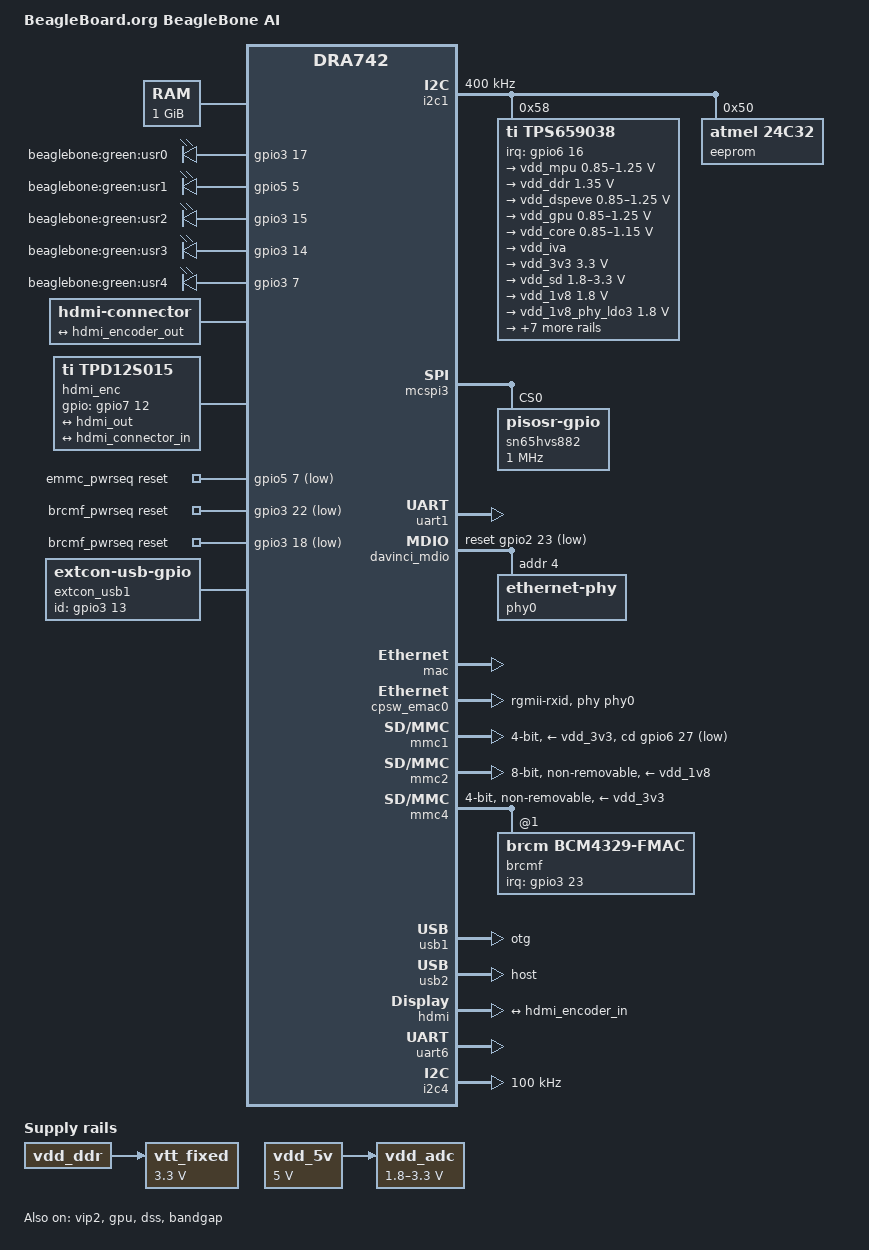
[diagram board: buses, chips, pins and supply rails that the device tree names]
// SPDX-License-Identifier: GPL-2.0
/*
 * Copyright (C) 2014-2020 Texas Instruments Incorporated - http://www.ti.com/
 */

/dts-v1/;

#include "dra74x.dtsi"
#include "dra74x-mmc-iodelay.dtsi"
#include <dt-bindings/gpio/gpio.h>
#include <dt-bindings/interrupt-controller/irq.h>
#include <dt-bindings/pinctrl/dra.h>

/ {
	model = "BeagleBoard.org BeagleBone AI";
	compatible = "beagle,am5729-beagleboneai", "ti,am5728",
		     "ti,dra742", "ti,dra74", "ti,dra7";

	aliases {
		rtc0 = &tps659038_rtc;
		rtc1 = &rtc;
		display0 = &hdmi_conn;
	};

	chosen {
		stdout-path = &uart1;
		base_dtb = "am5729-beagleboneai.dts";
		base_dtb_timestamp = __TIMESTAMP__;
	};

	memory@0 {
		device_type = "memory";
		reg = <0x0 0x80000000 0x0 0x40000000>;
	};

	vdd_adc: gpioregulator-vdd_adc {
		compatible = "regulator-gpio";
		regulator-name = "vdd_adc";
		vin-supply = <&vdd_5v>;
		regulator-min-microvolt = <1800000>;
		regulator-max-microvolt = <3300000>;
		regulator-always-on;
		regulator-boot-on;
		gpios = <&gpio3 27 GPIO_ACTIVE_HIGH>;
		states = <1800000 0
			3300000 1>;
	};

	vdd_5v: fixedregulator-vdd_5v {
		compatible = "regulator-fixed";
		regulator-name = "vdd_5v";
		regulator-min-microvolt = <5000000>;
		regulator-max-microvolt = <5000000>;
		regulator-always-on;
		regulator-boot-on;
	};

	vtt_fixed: fixedregulator-vtt {
		/* TPS51200 */
		compatible = "regulator-fixed";
		regulator-name = "vtt_fixed";
		vin-supply = <&vdd_ddr>;
		regulator-min-microvolt = <3300000>;
		regulator-max-microvolt = <3300000>;
		regulator-always-on;
		regulator-boot-on;
	};

	leds {
		compatible = "gpio-leds";
		pinctrl-names = "default";
		pinctrl-0 = <&led_pins_default>;

		led0 {
			label = "beaglebone:green:usr0";
			gpios = <&gpio3 17 GPIO_ACTIVE_HIGH>;
			linux,default-trigger = "heartbeat";
			default-state = "off";
		};

		led1 {
			label = "beaglebone:green:usr1";
			gpios = <&gpio5 5 GPIO_ACTIVE_HIGH>;
			linux,default-trigger = "mmc0";
			default-state = "off";
		};

		led2 {
			label = "beaglebone:green:usr2";
			gpios = <&gpio3 15 GPIO_ACTIVE_HIGH>;
			linux,default-trigger = "cpu";
			default-state = "off";
		};

		led3 {
			label = "beaglebone:green:usr3";
			gpios = <&gpio3 14 GPIO_ACTIVE_HIGH>;
			linux,default-trigger = "mmc1";
			default-state = "off";
		};

		led4 {
			label = "beaglebone:green:usr4";
			gpios = <&gpio3 7 GPIO_ACTIVE_HIGH>;
			linux,default-trigger = "netdev";
			default-state = "off";
		};
	};

	hdmi_conn: connector@0 {
		compatible = "hdmi-connector";
		label = "hdmi";
		type = "a";

		port {
			hdmi_connector_in: endpoint {
				remote-endpoint = <&hdmi_encoder_out>;
			};
		};
	};

	hdmi_enc: encoder@0 {
		/* "ti,tpd12s016" software compatible with "ti,tpd12s015"
		 *  no need for individual driver
		 */
		compatible = "ti,tpd12s015";
		gpios = <0>,
			<0>,
			<&gpio7 12 GPIO_ACTIVE_HIGH>;

		ports {
			#address-cells = <0x1>;
			#size-cells = <0x0>;

			port@0 {
				reg = <0x0>;

				hdmi_encoder_in: endpoint@0 {
					remote-endpoint = <&hdmi_out>;
				};
			};

			port@1 {
				reg = <0x1>;

				hdmi_encoder_out: endpoint@0 {
					remote-endpoint = <&hdmi_connector_in>;
				};
			};
		};
	};

	emmc_pwrseq: emmc_pwrseq {
		compatible = "mmc-pwrseq-emmc";
		reset-gpios = <&gpio5 7 GPIO_ACTIVE_LOW>;
		pinctrl-names = "default";
		pinctrl-0 = <&emmc_pwrseq_pins_default>;
	};

	brcmf_pwrseq: brcmf_pwrseq {
		compatible = "mmc-pwrseq-simple";
		pinctrl-names = "default";
		pinctrl-0 = <&brcmf_pwrseq_pins_default>;
		reset-gpios = <&gpio3 22 GPIO_ACTIVE_LOW>,	/* BT-REG-ON */
				<&gpio3 18 GPIO_ACTIVE_LOW>;	/* WL-REG-ON */
	};

	unused_pins: unused_pins {
		compatible = "gpio-leds";
		pinctrl-names = "default";
		pinctrl-0 = <&unused_pins_default>;
	};

	cape_pins: cape_pins {
		compatible = "gpio-leds";
		pinctrl-names = "default";
		pinctrl-0 = <&cape_pins_default>;
	};

	extcon_usb1: extcon_usb1 {
		compatible = "linux,extcon-usb-gpio";
		ti,enable-id-detection;
		id-gpio = <&gpio3 13 GPIO_ACTIVE_HIGH>;
		pinctrl-names = "default";
		pinctrl-0 = <&extcon_usb1_pins_default>;
	};
};

&dra7_pmx_core {
	extcon_usb1_pins_default: extcon_usb1_pins_default {
		pinctrl-single,pins = <
			DRA7XX_CORE_IOPAD(0x3518, PIN_INPUT | MUX_MODE14) /* AG2: vin1a_d9.gpio3_13  - USR0 */
		>;
	};

	led_pins_default: led_pins_default {
		pinctrl-single,pins = <
			DRA7XX_CORE_IOPAD(0x3528, PIN_OUTPUT | MUX_MODE14) /* AF6: vin1a_d13.gpio3_17  - USR0 */
			DRA7XX_CORE_IOPAD(0x36c0, PIN_OUTPUT | MUX_MODE14) /* J11: mcasp1_axr3.gpio5_5 - USR1 */
			DRA7XX_CORE_IOPAD(0x3520, PIN_OUTPUT | MUX_MODE14) /* AG5: vin1a_d12.gpio3_15  - USR2 */
			DRA7XX_CORE_IOPAD(0x351c, PIN_OUTPUT | MUX_MODE14) /* AG3: vin1a_d10.gpio3_14  - USR3 */
			DRA7XX_CORE_IOPAD(0x3500, PIN_OUTPUT | MUX_MODE14) /* AH6: vin1a_d3.gpio3_7    - USR4 */
		>;
	};

	microsd_extra_pins_default: microsd_extra_pins_default {
		pinctrl-single,pins = <
			DRA7XX_CORE_IOPAD(0x376c, PIN_INPUT_PULLUP | MUX_MODE14) /* W7: mmc1_sdcd.gpio6_27 - MMC1_SDCD */
		>;
	};

	ethphy_extra_pins_default: ethphy_extra_pins_default {
		pinctrl-single,pins = <
			DRA7XX_CORE_IOPAD(0x34c4, PIN_OUTPUT_PULLUP | MUX_MODE14) /* N1: gpmc_advn_ale.gpio2_23 - RGMII_RST */
			DRA7XX_CORE_IOPAD(0x364c, PIN_INPUT | MUX_MODE14) /* Y1: uart3_txd.gpio5_19 - MII0_INT */
		>;
	};

	emmc_pwrseq_pins_default: emmc_pwrseq_pins_default {
		pinctrl-single,pins = <
			DRA7XX_CORE_IOPAD(0x36c8, PIN_OUTPUT_PULLUP | MUX_MODE14) /* F13: mcasp1_axr5.gpio5_7 - eMMC_RSTn */
		>;
	};

	brcmf_pwrseq_pins_default: brcmf_pwrseq_pins_default {
		pinctrl-single,pins = <
			DRA7XX_CORE_IOPAD(0x352c, PIN_OUTPUT_PULLUP | MUX_MODE14) /* AF3: vin1a_d14.gpio3_18 - WL_REG_ON */
			DRA7XX_CORE_IOPAD(0x353c, PIN_OUTPUT_PULLUP | MUX_MODE14) /* AE5: vin1a_d18.gpio3_22 - BT_REG_ON */
		>;
	};

	wifibt_extra_pins_default: wifibt_extra_pins_default {
		pinctrl-single,pins = <
			DRA7XX_CORE_IOPAD(0x3540, PIN_INPUT | MUX_MODE14) /* AE1: vin1a_d19.gpio3_23 - WL_HOST_WAKE */
			DRA7XX_CORE_IOPAD(0x3450, PIN_INPUT | MUX_MODE8) /* P6: vin1a_d20.uart6_rxd - UART6_RXD */
			DRA7XX_CORE_IOPAD(0x3454, PIN_INPUT | MUX_MODE8) /* R9: vin1a_d21.uart6_txd - UART6_TXD */
			DRA7XX_CORE_IOPAD(0x3458, PIN_INPUT | MUX_MODE8) /* R5: vin1a_d22.uart6_ctsn - UART6_CTSN */
			DRA7XX_CORE_IOPAD(0x345c, PIN_INPUT | MUX_MODE8) /* P5: vin1a_d23.uart6_rtsn - UART6_RTSN */
			DRA7XX_CORE_IOPAD(0x3534, PIN_INPUT_PULLDOWN | MUX_MODE14) /* AF1: vin1a_d16.gpio3_20 - BT_HOST_WAKE */
			DRA7XX_CORE_IOPAD(0x3538, PIN_OUTPUT_PULLDOWN | MUX_MODE14) /* AE3: vin1a_d6.gpio3_21 - BT_WAKE */
		>;
	};

	adc_pins_default: adc_pins_default {
		pinctrl-single,pins = <
			DRA7XX_CORE_IOPAD(0x3550, PIN_OUTPUT | MUX_MODE14) /* AD3: vin1a_d23.gpio3_27 - VDD_ADC_SEL */
			DRA7XX_CORE_IOPAD(0x34DC, PIN_INPUT_PULLUP | MUX_MODE14) /* AG8: vin1a_clk0.gpio2_30 - INT_ADC */
		>;
	};

	pmic_pins_default: pmic_pins_default {
		pinctrl-single,pins = <
			DRA7XX_CORE_IOPAD(0x3690, PIN_INPUT_PULLUP | MUX_MODE14) /* F21: gpio6_16.gpio6_16 - PMIC_INT */
		>;
	};

	hdmi_pins_default: hdmi_pins_default {
		pinctrl-single,pins = <
			DRA7XX_CORE_IOPAD(0x3808, PIN_INPUT | MUX_MODE1) /* C25: i2c2_sda.hdmi1_ddc_scl - HDMI_DDC_SCL */
			DRA7XX_CORE_IOPAD(0x380C, PIN_INPUT | MUX_MODE1) /* F17: i2c2_scl.hdmi1_ddc_sda - HDMI_DDC_SDA */
			DRA7XX_CORE_IOPAD(0x37BC, PIN_INPUT | MUX_MODE6) /* B20: spi1_cs3.hdmi1_cec - HDMI_DDC_CEC */
#if 0
			DRA7XX_CORE_IOPAD(0x37B8, PIN_INPUT | MUX_MODE6) /* B21: spi1_cs2.hdmi1_hpd - HDMI_DDC_HPD */
#else
			DRA7XX_CORE_IOPAD(0x37B8, PIN_INPUT | MUX_MODE14) /* B21: spi1_cs2.gpio7_12 - HDMI_DDC_HPD */
#endif
		>;
	};

	unused_pins_default: unused_pins_default {
		pinctrl-single,pins = <
			DRA7XX_CORE_IOPAD(0x3400, MUX_MODE15) /* M6: sysboot0 */
			DRA7XX_CORE_IOPAD(0x3404, MUX_MODE15) /* M2: sysboot1 */
			DRA7XX_CORE_IOPAD(0x3408, MUX_MODE15) /* L5: sysboot2 */
			DRA7XX_CORE_IOPAD(0x340C, MUX_MODE15) /* M1: sysboot3 */
			DRA7XX_CORE_IOPAD(0x3410, MUX_MODE15) /* L6: sysboot4 */
			DRA7XX_CORE_IOPAD(0x3414, MUX_MODE15) /* L4: sysboot5 */
			DRA7XX_CORE_IOPAD(0x3418, MUX_MODE15) /* L3: sysboot6 */
			DRA7XX_CORE_IOPAD(0x341C, MUX_MODE15) /* L2: sysboot7 */
			DRA7XX_CORE_IOPAD(0x3420, MUX_MODE15) /* L1: sysboot8 */
			DRA7XX_CORE_IOPAD(0x3424, MUX_MODE15) /* K2: sysboot9 */
			DRA7XX_CORE_IOPAD(0x3428, MUX_MODE15) /* J1: sysboot10 */
			DRA7XX_CORE_IOPAD(0x342C, MUX_MODE15) /* J2: sysboot11 */
			DRA7XX_CORE_IOPAD(0x3430, MUX_MODE15) /* H1: sysboot12 */
			DRA7XX_CORE_IOPAD(0x3434, MUX_MODE15) /* J3: sysboot13 */
			DRA7XX_CORE_IOPAD(0x3438, MUX_MODE15) /* H2: sysboot14 */
			DRA7XX_CORE_IOPAD(0x343C, MUX_MODE15) /* H3: sysboot15 */

			DRA7XX_CORE_IOPAD(0x3448, MUX_MODE15) /* T6: N/C */
			DRA7XX_CORE_IOPAD(0x344C, MUX_MODE15) /* T7: N/C */

			DRA7XX_CORE_IOPAD(0x3460, MUX_MODE15) /* N7: N/C */
			DRA7XX_CORE_IOPAD(0x3464, MUX_MODE15) /* R4: N/C */
			DRA7XX_CORE_IOPAD(0x3468, MUX_MODE15) /* N9: N/C */
			DRA7XX_CORE_IOPAD(0x346C, MUX_MODE15) /* P9: N/C */
			DRA7XX_CORE_IOPAD(0x3470, MUX_MODE15) /* P4: N/C */
			DRA7XX_CORE_IOPAD(0x3474, MUX_MODE15) /* R3: N/C */
			DRA7XX_CORE_IOPAD(0x3478, MUX_MODE15) /* T2: N/C */
			DRA7XX_CORE_IOPAD(0x347C, MUX_MODE15) /* U2: N/C */
			DRA7XX_CORE_IOPAD(0x3480, MUX_MODE15) /* U1: N/C */
			DRA7XX_CORE_IOPAD(0x3484, MUX_MODE15) /* P3: N/C */
			DRA7XX_CORE_IOPAD(0x3488, MUX_MODE15) /* R2: N/C */

			DRA7XX_CORE_IOPAD(0x34B4, MUX_MODE15) /* T1: N/C */
			DRA7XX_CORE_IOPAD(0x34B8, MUX_MODE15) /* P2: N/C */
			DRA7XX_CORE_IOPAD(0x34BC, MUX_MODE15) /* P1: N/C */
			DRA7XX_CORE_IOPAD(0x34C0, MUX_MODE15) /* P7: N/C */
			DRA7XX_CORE_IOPAD(0x34C4, MUX_MODE15) /* N1: N/C */
			DRA7XX_CORE_IOPAD(0x34C8, MUX_MODE15) /* M5: N/C */
			DRA7XX_CORE_IOPAD(0x34CC, MUX_MODE15) /* M3: N/C */
			DRA7XX_CORE_IOPAD(0x34D0, MUX_MODE15) /* N6: N/C */
			DRA7XX_CORE_IOPAD(0x34D4, MUX_MODE15) /* M4: N/C */
			DRA7XX_CORE_IOPAD(0x34D8, MUX_MODE15) /* N2: N/C */

			DRA7XX_CORE_IOPAD(0x34E0, MUX_MODE15) /* AH7: N/C */

			DRA7XX_CORE_IOPAD(0x34EC, MUX_MODE15) /* AE9: N/C */

			DRA7XX_CORE_IOPAD(0x34F4, MUX_MODE15) /* AE8: N/C */
			DRA7XX_CORE_IOPAD(0x34F8, MUX_MODE15) /* AD8: N/C */
			DRA7XX_CORE_IOPAD(0x34FC, MUX_MODE15) /* AG7: N/C */

			DRA7XX_CORE_IOPAD(0x3504, MUX_MODE15) /* AH3: N/C */
			DRA7XX_CORE_IOPAD(0x3508, MUX_MODE15) /* AH5: N/C */

			DRA7XX_CORE_IOPAD(0x3524, MUX_MODE15) /* AF2: N/C */

			DRA7XX_CORE_IOPAD(0x3530, MUX_MODE15) /* AF4: N/C */

			DRA7XX_CORE_IOPAD(0x354C, MUX_MODE15) /* AD2: N/C */

			DRA7XX_CORE_IOPAD(0x3554, MUX_MODE15) /* E1: N/C */
			DRA7XX_CORE_IOPAD(0x3558, MUX_MODE15) /* G2: N/C */
			DRA7XX_CORE_IOPAD(0x355C, MUX_MODE15) /* H7: N/C */
			DRA7XX_CORE_IOPAD(0x3560, MUX_MODE15) /* G1: N/C */

			DRA7XX_CORE_IOPAD(0x356C, MUX_MODE15) /* F3: N/C */

			DRA7XX_CORE_IOPAD(0x3574, MUX_MODE15) /* E2: N/C */

			DRA7XX_CORE_IOPAD(0x3584, MUX_MODE15) /* E4: N/C */

			DRA7XX_CORE_IOPAD(0x3594, MUX_MODE15) /* F6: N/C */

			DRA7XX_CORE_IOPAD(0x35A4, MUX_MODE15) /* C4: N/C */
			DRA7XX_CORE_IOPAD(0x35A8, MUX_MODE15) /* B2: N/C */

			DRA7XX_CORE_IOPAD(0x35C0, MUX_MODE15) /* B5: N/C */
			DRA7XX_CORE_IOPAD(0x35C4, MUX_MODE15) /* A4: N/C */

			DRA7XX_CORE_IOPAD(0x35D0, MUX_MODE15) /* B11: N/C */

			DRA7XX_CORE_IOPAD(0x3644, MUX_MODE15) /* U3: N/C */

			DRA7XX_CORE_IOPAD(0x3680, MUX_MODE15) /* AB10: N/C */

			DRA7XX_CORE_IOPAD(0x36BC, MUX_MODE15) /* G13: N/C */

			DRA7XX_CORE_IOPAD(0x36C4, MUX_MODE15) /* E12: N/C */

			DRA7XX_CORE_IOPAD(0x36CC, MUX_MODE15) /* C12: N/C */
			DRA7XX_CORE_IOPAD(0x36D0, MUX_MODE15) /* D12: N/C */

			DRA7XX_CORE_IOPAD(0x36FC, MUX_MODE15) /* E15: N/C */
			DRA7XX_CORE_IOPAD(0x3700, MUX_MODE15) /* A20: N/C */

			DRA7XX_CORE_IOPAD(0x370C, MUX_MODE15) /* C15: N/C */
			DRA7XX_CORE_IOPAD(0x3710, MUX_MODE15) /* A16: N/C */
			DRA7XX_CORE_IOPAD(0x3714, MUX_MODE15) /* D15: N/C */
			DRA7XX_CORE_IOPAD(0x3718, MUX_MODE15) /* B16: N/C */
			DRA7XX_CORE_IOPAD(0x371C, MUX_MODE15) /* B17: N/C */
			DRA7XX_CORE_IOPAD(0x3720, MUX_MODE15) /* A17: N/C */
			DRA7XX_CORE_IOPAD(0x3724, MUX_MODE15) /* B18: N/C */
			DRA7XX_CORE_IOPAD(0x3728, MUX_MODE15) /* F15: N/C */

			DRA7XX_CORE_IOPAD(0x3744, MUX_MODE15) /* AA3: N/C */
			DRA7XX_CORE_IOPAD(0x3748, MUX_MODE15) /* AB9: N/C */
			DRA7XX_CORE_IOPAD(0x374C, MUX_MODE15) /* AB3: N/C */
			DRA7XX_CORE_IOPAD(0x3750, MUX_MODE15) /* AA4: N/C */

			DRA7XX_CORE_IOPAD(0x3770, MUX_MODE15) /* Y9: N/C */
			DRA7XX_CORE_IOPAD(0x3774, MUX_MODE15) /* AC5: N/C */
			DRA7XX_CORE_IOPAD(0x3778, MUX_MODE15) /* AB4: N/C */

			DRA7XX_CORE_IOPAD(0x37A4, MUX_MODE15) /* A25: N/C */
			DRA7XX_CORE_IOPAD(0x37A8, MUX_MODE15) /* F16: N/C */
			DRA7XX_CORE_IOPAD(0x37AC, MUX_MODE15) /* B25: N/C */
			DRA7XX_CORE_IOPAD(0x37B0, MUX_MODE15) /* A24: N/C */

			DRA7XX_CORE_IOPAD(0x37D0, MUX_MODE15) /* G20: N/C */
			DRA7XX_CORE_IOPAD(0x37D4, MUX_MODE15) /* G19: N/C */

			DRA7XX_CORE_IOPAD(0x3818, MUX_MODE15) /* AD17: N/C */
			DRA7XX_CORE_IOPAD(0x381C, MUX_MODE15) /* AC17: N/C */
			DRA7XX_CORE_IOPAD(0x3820, MUX_MODE15) /* AB16: N/C */
			DRA7XX_CORE_IOPAD(0x3824, MUX_MODE15) /* AC16: N/C */
		>;
	};

	cape_pins_default: cape_pins_default {
		pinctrl-single,pins = <
			DRA7XX_CORE_IOPAD(0x379C, MUX_MODE14) /* AB8: P8.3: mmc3_dat6.off */
			DRA7XX_CORE_IOPAD(0x37A0, MUX_MODE14) /* AB5: P8.4: mmc3_dat7.off */
			DRA7XX_CORE_IOPAD(0x378C, MUX_MODE14) /* AC9: P8.5: mmc3_dat2.off */
			DRA7XX_CORE_IOPAD(0x3790, MUX_MODE14) /* AC3: P8.6: mmc3_dat3.off */
			DRA7XX_CORE_IOPAD(0x36EC, MUX_MODE14) /* G14: P8.7: mcasp1_axr14.off */
			DRA7XX_CORE_IOPAD(0x36F0, MUX_MODE14) /* F14: P8.8: mcasp1_axr15.off */
			DRA7XX_CORE_IOPAD(0x3698, MUX_MODE14) /* E17: P8.9: xref_clk1.off */
			DRA7XX_CORE_IOPAD(0x36E8, MUX_MODE14) /* A13: P8.10: mcasp1_axr13.off */
			DRA7XX_CORE_IOPAD(0x3510, MUX_MODE14) /* AH4: P8.11: vin1a_d7.off */
			DRA7XX_CORE_IOPAD(0x350C, MUX_MODE14) /* AG6: P8.12: vin1a_d6.off */
			DRA7XX_CORE_IOPAD(0x3590, PIN_INPUT | MUX_MODE12) /* D3: P8.13: vin2a_d10.off */
			DRA7XX_CORE_IOPAD(0x3598, MUX_MODE14) /* D5: P8.14: vin2a_d12.off */
			DRA7XX_CORE_IOPAD(0x3570, MUX_MODE14) /* D1: P8.15a: vin2a_d2.off */
			DRA7XX_CORE_IOPAD(0x35B4, MUX_MODE13) /* A3: P8.15b: vin2a_d19.off */
			DRA7XX_CORE_IOPAD(0x35BC, MUX_MODE13) /* B4: P8.16: vin2a_d21.off */
			DRA7XX_CORE_IOPAD(0x3624, MUX_MODE14) /* A7: P8.17: vout1_d18.off */
			DRA7XX_CORE_IOPAD(0x3588, PIN_INPUT | MUX_MODE12) /* F5: P8.18: vin2a_d8.off */
			DRA7XX_CORE_IOPAD(0x358C, PIN_INPUT | MUX_MODE12) /* E6: P8.19: vin2a_d9.off */
			DRA7XX_CORE_IOPAD(0x3780, MUX_MODE14) /* AC4: P8.20: mmc3_cmd.off */
			DRA7XX_CORE_IOPAD(0x377C, MUX_MODE14) /* AD4: P8.21: mmc3_clk.off */
			DRA7XX_CORE_IOPAD(0x3798, MUX_MODE14) /* AD6: P8.22: mmc3_dat5.off */
			DRA7XX_CORE_IOPAD(0x3794, MUX_MODE14) /* AC8: P8.23: mmc3_dat4.off */
			DRA7XX_CORE_IOPAD(0x3788, MUX_MODE14) /* AC6: P8.24: mmc3_dat1.off */
			DRA7XX_CORE_IOPAD(0x3784, MUX_MODE14) /* AC7: P8.25: mmc3_dat0.off */
			DRA7XX_CORE_IOPAD(0x35B8, MUX_MODE13) /* B3: P8.26: vin2a_d20.off */
			DRA7XX_CORE_IOPAD(0x35D8, MUX_MODE14) /* E11: P8.27a: vout1_vsync.off */
			DRA7XX_CORE_IOPAD(0x3628, MUX_MODE14) /* A8: P8.27b: vout1_d19.off */
			DRA7XX_CORE_IOPAD(0x35C8, MUX_MODE14) /* D11: P8.28a: vout1_clk.off */
			DRA7XX_CORE_IOPAD(0x362C, MUX_MODE14) /* C9: P8.28b: vout1_d20.off */
			DRA7XX_CORE_IOPAD(0x35D4, MUX_MODE14) /* C11: P8.29a: vout1_hsync.off */
			DRA7XX_CORE_IOPAD(0x3630, MUX_MODE14) /* A9: P8.29b: vout1_d21.off */
			DRA7XX_CORE_IOPAD(0x35CC, MUX_MODE14) /* B10: P8.30a: vout1_de.off */
			DRA7XX_CORE_IOPAD(0x3634, MUX_MODE14) /* B9: P8.30b: vout1_d22.off */
			DRA7XX_CORE_IOPAD(0x3614, MUX_MODE14) /* C8: P8.31a: vout1_d14.off */
			DRA7XX_CORE_IOPAD(0x373C, MUX_MODE14) /* G16: P8.31b: mcasp4_axr0.off */
			DRA7XX_CORE_IOPAD(0x3618, MUX_MODE14) /* C7: P8.32a: vout1_d15.off */
			DRA7XX_CORE_IOPAD(0x3740, MUX_MODE14) /* D17: P8.32b: mcasp4_axr1.off */
			DRA7XX_CORE_IOPAD(0x3610, MUX_MODE14) /* C6: P8.33a: vout1_d13.off */
			DRA7XX_CORE_IOPAD(0x34E8, MUX_MODE14) /* AF9: P8.33b: vin1a_fld0.off */
			DRA7XX_CORE_IOPAD(0x3608, MUX_MODE14) /* D8: P8.34a: vout1_d11.off */
			DRA7XX_CORE_IOPAD(0x3564, MUX_MODE14) /* G6: P8.34b: vin2a_vsync0.off */
			DRA7XX_CORE_IOPAD(0x360C, MUX_MODE14) /* A5: P8.35a: vout1_d12.off */
			DRA7XX_CORE_IOPAD(0x34E4, MUX_MODE14) /* AD9: P8.35b: vin1a_de0.off */
			DRA7XX_CORE_IOPAD(0x3604, MUX_MODE14) /* D7: P8.36a: vout1_d10.off */
			DRA7XX_CORE_IOPAD(0x3568, MUX_MODE14) /* F2: P8.36b: vin2a_d0.off */
			DRA7XX_CORE_IOPAD(0x35FC, MUX_MODE14) /* E8: P8.37a: vout1_d8.off */
			DRA7XX_CORE_IOPAD(0x3738, MUX_MODE14) /* A21: P8.37b: mcasp4_fsx.off */
			DRA7XX_CORE_IOPAD(0x3600, MUX_MODE14) /* D9: P8.38a: vout1_d9.off */
			DRA7XX_CORE_IOPAD(0x3734, MUX_MODE14) /* C18: P8.38b: mcasp4_aclkx.off */
			DRA7XX_CORE_IOPAD(0x35F4, MUX_MODE14) /* F8: P8.39: vout1_d6.off */
			DRA7XX_CORE_IOPAD(0x35F8, MUX_MODE14) /* E7: P8.40: vout1_d7.off */
			DRA7XX_CORE_IOPAD(0x35EC, MUX_MODE14) /* E9: P8.41: vout1_d4.off */
			DRA7XX_CORE_IOPAD(0x35F0, MUX_MODE14) /* F9: P8.42: vout1_d5.off */
			DRA7XX_CORE_IOPAD(0x35E4, MUX_MODE14) /* F10: P8.43: vout1_d2.off */
			DRA7XX_CORE_IOPAD(0x35E8, MUX_MODE14) /* G11: P8.44: vout1_d3.off */
			DRA7XX_CORE_IOPAD(0x35DC, MUX_MODE14) /* F11: P8.45a: vout1_d0.off */
			DRA7XX_CORE_IOPAD(0x361C, MUX_MODE14) /* B7: P8.45b: vout1_d16.off */
			DRA7XX_CORE_IOPAD(0x35E0, MUX_MODE14) /* G10: P8.46a: vout1_d1.off */
			DRA7XX_CORE_IOPAD(0x3638, MUX_MODE14) /* A10: P8.46b: vout1_d23.off */
			DRA7XX_CORE_IOPAD(0x372C, MUX_MODE14) /* B19: P9.11a: mcasp3_axr0.off */
			DRA7XX_CORE_IOPAD(0x3620, MUX_MODE14) /* B8: P9.11b: vout1_d17.off */
			DRA7XX_CORE_IOPAD(0x36AC, MUX_MODE14) /* B14: P9.12: mcasp1_aclkr.off */
			DRA7XX_CORE_IOPAD(0x3730, MUX_MODE14) /* C17: P9.13: mcasp3_axr1.off */
			DRA7XX_CORE_IOPAD(0x35AC, MUX_MODE10) /* D6: P9.14: vin2a_d17.off */
			DRA7XX_CORE_IOPAD(0x3514, MUX_MODE14) /* AG4: P9.15: vin1a_d8.off */
			DRA7XX_CORE_IOPAD(0x35B0, MUX_MODE13) /* C5: P9.16: vin2a_d18.off */
			DRA7XX_CORE_IOPAD(0x37CC, MUX_MODE14) /* B24: P9.17a: spi2_cs0.off */
			DRA7XX_CORE_IOPAD(0x36B8, MUX_MODE14) /* F12: P9.17b: mcasp1_axr1.off */
			DRA7XX_CORE_IOPAD(0x37C8, MUX_MODE14) /* G17: P9.18a: spi2_d0.off */
			DRA7XX_CORE_IOPAD(0x36B4, MUX_MODE14) /* G12: P9.18b: mcasp1_axr0.off */
			DRA7XX_CORE_IOPAD(0x3440, PIN_INPUT_PULLUP | MUX_MODE7) /* R6: P9.19a: gpmc_a0.i2c4_scl */
			DRA7XX_CORE_IOPAD(0x357C, PIN_INPUT_PULLUP | MUX_MODE12 ) /* F4: P9.19b: vin2a_d5.pr1_pru1_gpi2 */
			DRA7XX_CORE_IOPAD(0x3444, PIN_INPUT_PULLUP | MUX_MODE7) /* T9: P9.20a: gpmc_a1.i2c4_sda */
			DRA7XX_CORE_IOPAD(0x3578, PIN_INPUT_PULLUP | MUX_MODE12) /* D2: P9.20b: vin2a_d4.pr1_pru1_gpi1 */
			DRA7XX_CORE_IOPAD(0x34F0, MUX_MODE14) /* AF8: P9.21a: vin1a_vsync0.off */
			DRA7XX_CORE_IOPAD(0x37C4, MUX_MODE14) /* B22: P9.21b: spi2_d1.off */
			DRA7XX_CORE_IOPAD(0x369C, MUX_MODE14) /* B26: P9.22a: xref_clk2.off */
			DRA7XX_CORE_IOPAD(0x37C0, MUX_MODE14) /* A26: P9.22b: spi2_sclk.off */
			DRA7XX_CORE_IOPAD(0x37B4, MUX_MODE14) /* A22: P9.23: spi1_cs1.off */
			DRA7XX_CORE_IOPAD(0x368C, MUX_MODE14) /* F20: P9.24: gpio6_15.off */
			DRA7XX_CORE_IOPAD(0x3694, MUX_MODE14) /* D18: P9.25: xref_clk0.off */
			DRA7XX_CORE_IOPAD(0x3688, MUX_MODE14) /* E21: P9.26a: gpio6_14.off */
			DRA7XX_CORE_IOPAD(0x3544, MUX_MODE14) /* AE2: P9.26b: vin1a_d20.off */
			DRA7XX_CORE_IOPAD(0x35A0, MUX_MODE14) /* C3: P9.27a: vin2a_d14.off */
			DRA7XX_CORE_IOPAD(0x36B0, MUX_MODE14) /* J14: P9.27b: mcasp1_fsr.off */
			DRA7XX_CORE_IOPAD(0x36E0, MUX_MODE14) /* A12: P9.28: mcasp1_axr11.off */
			DRA7XX_CORE_IOPAD(0x36D8, MUX_MODE14) /* A11: P9.29a: mcasp1_axr9.off */
			DRA7XX_CORE_IOPAD(0x36A8, MUX_MODE14) /* D14: P9.29b: mcasp1_fsx.off */
			DRA7XX_CORE_IOPAD(0x36DC, MUX_MODE14) /* B13: P9.30: mcasp1_axr10.off */
			DRA7XX_CORE_IOPAD(0x36D4, MUX_MODE14) /* B12: P9.31a: mcasp1_axr8.off */
			DRA7XX_CORE_IOPAD(0x36A4, MUX_MODE14) /* C14: P9.31b: mcasp1_aclkx.off */
			DRA7XX_CORE_IOPAD(0x36A0, MUX_MODE14) /* C23: P9.41a: xref_clk3.off */
			DRA7XX_CORE_IOPAD(0x3580, MUX_MODE14) /* C1: P9.41b: vin2a_d6.off */
			DRA7XX_CORE_IOPAD(0x36E4, MUX_MODE14) /* E14: P9.42a: mcasp1_axr12.off */
			DRA7XX_CORE_IOPAD(0x359C, MUX_MODE14) /* C2: P9.42b: vin2a_d13.off */
		>;
	};
};

&vip2 {
	status = "okay";
};

&i2c1 {
	status = "okay";
	clock-frequency = <400000>;

	tps659038: tps659038@58 {
		compatible = "ti,tps659038";
		reg = <0x58>;
		interrupt-parent = <&gpio6>;
		interrupts = <16 IRQ_TYPE_LEVEL_LOW>;

		pinctrl-names = "default";
		pinctrl-0 = <&pmic_pins_default>;

		#interrupt-cells = <2>;
		interrupt-controller;

		ti,system-power-controller;
		ti,palmas-override-powerhold;

		tps659038_pmic {
			compatible = "ti,tps659038-pmic";

			smps12-in-supply = <&vdd_5v>;
			smps3-in-supply = <&vdd_5v>;
			smps45-in-supply = <&vdd_5v>;
			smps6-in-supply = <&vdd_5v>;
			smps7-in-supply = <&vdd_5v>;
			mps3-in-supply = <&vdd_5v>;
			smps8-in-supply = <&vdd_5v>;
			smps9-in-supply = <&vdd_5v>;
			ldo1-in-supply = <&vdd_5v>;
			ldo2-in-supply = <&vdd_5v>;
			ldo3-in-supply = <&vdd_5v>;
			ldo4-in-supply = <&vdd_5v>;
			ldo9-in-supply = <&vdd_5v>;
			ldoln-in-supply = <&vdd_5v>;
			ldousb-in-supply = <&vdd_5v>;
			ldortc-in-supply = <&vdd_5v>;

			regulators {
				vdd_mpu: smps12 {
					/* VDD_MPU */
					regulator-name = "smps12";
					regulator-min-microvolt = <850000>;
					regulator-max-microvolt = <1250000>;
					regulator-always-on;
					regulator-boot-on;
				};

				vdd_ddr: smps3 {
					/* VDD_DDR EMIF1 EMIF2 */
					regulator-name = "smps3";
					regulator-min-microvolt = <1350000>;
					regulator-max-microvolt = <1350000>;
					regulator-always-on;
					regulator-boot-on;
				};

				vdd_dspeve: smps45 {
					/* VDD_DSPEVE on AM572 */
					regulator-name = "smps45";
					regulator-min-microvolt = < 850000>;
					regulator-max-microvolt = <1250000>;
					regulator-always-on;
					regulator-boot-on;
				};

				vdd_gpu: smps6 {
					/* VDD_GPU */
					regulator-name = "smps6";
					regulator-min-microvolt = < 850000>;
					regulator-max-microvolt = <1250000>;
					regulator-always-on;
					regulator-boot-on;
				};

				vdd_core: smps7 {
					/* VDD_CORE */
					regulator-name = "smps7";
					regulator-min-microvolt = < 850000>;	/*** 1.15V */
					regulator-max-microvolt = <1150000>;
					regulator-always-on;
					regulator-boot-on;
				};

				vdd_iva: smps8 {
					/* VDD_IVAHD */				/*** 1.06V */
					regulator-name = "smps8";
				};

				vdd_3v3: smps9 {
					/* VDD_3V3 */
					regulator-name = "smps9";
					regulator-min-microvolt = <3300000>;
					regulator-max-microvolt = <3300000>;
					regulator-always-on;
					regulator-boot-on;
				};

				vdd_sd: ldo1 {
					/* VDDSHV8 - VSDMMC  */
					regulator-name = "ldo1";
					regulator-min-microvolt = <1800000>;
					regulator-max-microvolt = <3300000>;
					regulator-boot-on;
					regulator-always-on;
				};

				vdd_1v8: ldo2 {
					/* VDDSH18V */
					regulator-name = "ldo2";
					regulator-min-microvolt = <1800000>;
					regulator-max-microvolt = <1800000>;
					regulator-always-on;
					regulator-boot-on;
				};

				vdd_1v8_phy_ldo3: ldo3 {
					/* R1.3a 572x V1_8PHY_LDO3: USB, SATA */
					regulator-name = "ldo3";
					regulator-min-microvolt = <1800000>;
					regulator-max-microvolt = <1800000>;
					regulator-always-on;
					regulator-boot-on;
				};

				vdd_1v8_phy_ldo4: ldo4 {
					/* R1.3a 572x V1_8PHY_LDO4: PCIE, HDMI*/
					regulator-name = "ldo4";
					regulator-min-microvolt = <1800000>;
					regulator-max-microvolt = <1800000>;
					regulator-always-on;
					regulator-boot-on;
				};

				/* LDO5-8 unused */

				vdd_rtc: ldo9 {
					/* VDD_RTC  */
					regulator-name = "ldo9";
					regulator-min-microvolt = < 840000>;
					regulator-max-microvolt = <1160000>;
					regulator-always-on;
					regulator-boot-on;
				};

				vdd_1v8_pll: ldoln {
					/* VDDA_1V8_PLL */
					regulator-name = "ldoln";
					regulator-min-microvolt = <1800000>;
					regulator-max-microvolt = <1800000>;
					regulator-always-on;
					regulator-boot-on;
				};

				ldousb_reg: ldousb {
					/* VDDA_3V_USB: VDDA_USBHS33 */
					regulator-name = "ldousb";
					regulator-min-microvolt = <3300000>;
					regulator-max-microvolt = <3300000>;
					regulator-always-on;
					regulator-boot-on;
				};

				ldortc_reg: ldortc {
					/* VDDA_RTC  */
					regulator-name = "ldortc";
					regulator-min-microvolt = <1800000>;
					regulator-max-microvolt = <1800000>;
					regulator-always-on;
					regulator-boot-on;
				};

				regen1: regen1 {
					/* VDD_3V3_ON */
					regulator-name = "regen1";
					regulator-boot-on;
					regulator-always-on;
				};

				regen2: regen2 {
					/* Needed for PMIC internal resource */
					regulator-name = "regen2";
					regulator-boot-on;
					regulator-always-on;
				};
			};
		};

		tps659038_rtc: tps659038_rtc {
			compatible = "ti,palmas-rtc";
			interrupt-parent = <&tps659038>;
			interrupts = <8 IRQ_TYPE_EDGE_FALLING>;
			wakeup-source;
		};

		tps659038_pwr_button: tps659038_pwr_button {
			compatible = "ti,palmas-pwrbutton";
			interrupt-parent = <&tps659038>;
			interrupts = <1 IRQ_TYPE_EDGE_FALLING>;
			wakeup-source;
			ti,palmas-long-press-seconds = <12>;
		};

		tps659038_gpio: tps659038_gpio {
			compatible = "ti,palmas-gpio";
			gpio-controller;
			#gpio-cells = <2>;
		};
	};

	eeprom: eeprom@50 {
		compatible = "atmel,24c32";
		reg = <0x50>;
	};
};

&mcspi3 {
	status = "okay";
	ti,pindir-d0-out-d1-in;

	sn65hvs882: sn65hvs882@0 {
		compatible = "pisosr-gpio";
		gpio-controller;
		#gpio-cells = <2>;

		reg = <0>;
		spi-max-frequency = <1000000>;
		spi-cpol;
	};
};

&cpu0 {
	vdd-supply = <&vdd_mpu>;
	voltage-tolerance = <1>;
};

&gpu {
	status = "okay";
};

&uart1 {
	status = "okay";
};

&davinci_mdio {
	reset-gpios = <&gpio2 23 GPIO_ACTIVE_LOW>;
	reset-delay-us = <2>;

	phy0: ethernet-phy@1 {
		reg = <4>;
		eee-broken-100tx;
		eee-broken-1000t;
	};
};

&mac {
	slaves = <1>;
	status = "okay";
};

&cpsw_emac0 {
	phy-handle = <&phy0>;
	phy-mode = "rgmii-rxid";
};

&mmc1 {
	status = "okay";
	vmmc-supply = <&vdd_3v3>;
	vqmmc-supply = <&vdd_sd>;
	bus-width = <4>;
	cd-gpios = <&gpio6 27 GPIO_ACTIVE_LOW>; /* gpio 219 */

	pinctrl-names = "default";
	pinctrl-0 = <&mmc1_pins_default>;
};

&mmc2 {
	status = "okay";
	vmmc-supply = <&vdd_1v8>;
	vqmmc-supply = <&vdd_1v8>;
	bus-width = <8>;
	ti,non-removable;
	non-removable;
	mmc-pwrseq = <&emmc_pwrseq>;

	ti,needs-special-reset;
	dmas = <&sdma_xbar 47>, <&sdma_xbar 48>;
	dma-names = "tx", "rx";
	pinctrl-names = "default", "hs", "ddr_1_8v", "hs200_1_8v";
	pinctrl-0 = <&mmc2_pins_default>;
	pinctrl-1 = <&mmc2_pins_hs>;
	pinctrl-2 = <&mmc2_pins_ddr_rev20>;
	pinctrl-3 = <&mmc2_pins_hs200>;
};

&mmc4 {
	/* DS: Default speed (DS) up to 25 MHz, including 1- and 4-bit modes (3.3 V signaling). */
	/* HS: High speed up to 50 MHz (3.3 V signaling). */
	/* SDR12: SDR up to 25 MHz (1.8 V signaling). */
	/* SDR25: SDR up to 50 MHz (1.8 V signaling). */
	/* SDR50: SDR up to 100 MHz (1.8 V signaling). */
	/* SDR104: SDR up to 208 MHz (1.8 V signaling) */
	/* DDR50: DDR up to 50 MHz (1.8 V signaling). */
	status = "okay";

	pinctrl-names = "default", "hs";
	pinctrl-0 = <&mmc4_pins_default &wifibt_extra_pins_default>;
	pinctrl-1 = <&mmc4_pins_hs &wifibt_extra_pins_default>;

	ti,needs-special-reset;
	vmmc-supply = <&vdd_3v3>;
	cap-power-off-card;
	keep-power-in-suspend;
	bus-width = <4>;
	ti,non-removable;
	non-removable;
	no-1-8-v;
	max-frequency = <24000000>;

	#address-cells = <1>;
	#size-cells = <0>;
	mmc-pwrseq = <&brcmf_pwrseq>;

	brcmf: wifi@1 {
		status = "okay";
		reg = <1>;
		compatible = "brcm,bcm4329-fmac";

		brcm,sd-head-align = <4>;
		brcm,sd_head_align = <4>;
		brcm,sd_sgentry_align = <512>;

		interrupt-parent = <&gpio3>;
		interrupts = <23 IRQ_TYPE_LEVEL_LOW>;
		interrupt-names = "host-wake";
	};
};

&usb2_phy1 {
	phy-supply = <&ldousb_reg>;
};

&usb2_phy2 {
	phy-supply = <&ldousb_reg>;
};

&usb1 {
	status = "okay";
	dr_mode = "otg";
};

&omap_dwc3_1 {
	extcon = <&extcon_usb1>;
};

&usb2 {
	status = "okay";
	dr_mode = "host";
};

&dss {
	status = "okay";
	vdda_video-supply = <&vdd_1v8_pll>;
};

&hdmi {
	status = "okay";
	vdda-supply = <&vdd_1v8_phy_ldo4>;
	pinctrl-names = "default";
	pinctrl-0 = <&hdmi_pins_default>;

	port {
		hdmi_out: endpoint {
			remote-endpoint = <&hdmi_encoder_in>;
		};
	};
};

&bandgap {
	status = "okay";
};

&cpu_alert0 {
	temperature = <55000>; /* milliCelsius */
};

&cpu_crit {
	temperature = <85000>; /* milliCelsius */
};

&gpu_crit {
	temperature = <85000>; /* milliCelsius */
};

&core_crit {
	temperature = <85000>; /* milliCelsius */
};

&dspeve_crit {
	temperature = <85000>; /* milliCelsius */
};

&iva_crit {
	temperature = <85000>; /* milliCelsius */
};

&sata {
	status = "disabled";
};

&sata_phy {
	status = "disabled";
};

/* bluetooth */
&uart6 {
	status = "okay";
};

/* cape header stuff */
&i2c4 {
	status = "okay";
	clock-frequency = <100000>;
};

/* thermal hacks */
&cpu0_opp_table {
	opp_slow-500000000 {
		opp-hz = /bits/ 64 <400000000>;
		opp-microvolt = <860000 850000 1100000>,
				<860000 850000 1100000>;
		opp-supported-hw = <0xFF 0x01>;
		opp-suspend;
	};
};
